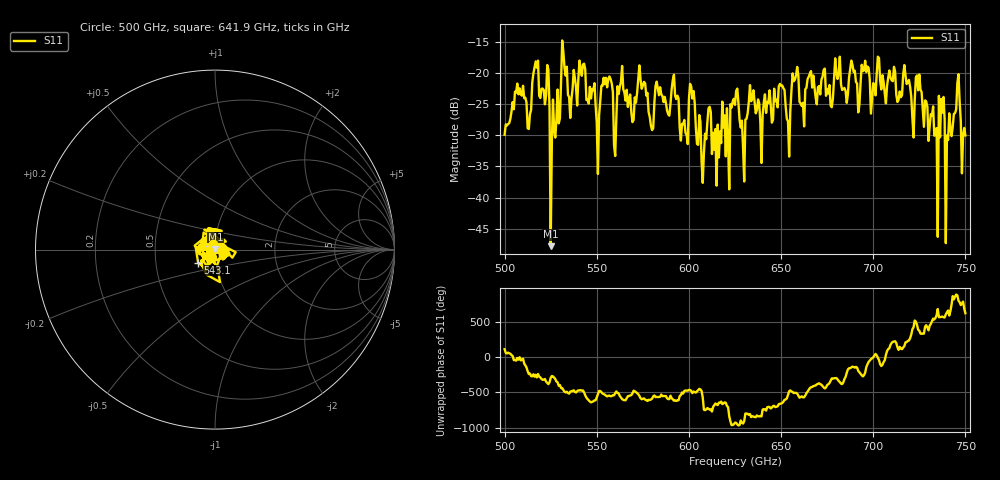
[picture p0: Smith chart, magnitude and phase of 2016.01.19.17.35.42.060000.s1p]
!Created with skrf (http://scikit-rf.org).
# GHz S RI R 50.0
!freq ReS11 ImS11
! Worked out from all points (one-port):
!   401 points, 500 GHz to 750 GHz, reference 50 ohm
!   lowest |S11| = -47.8 dB at 525 GHz (marker M1), VSWR 1.01, Z = 50.2 + j0.366 ohm
!   |S11| at or under -10 dB: start of sweep to end of sweep
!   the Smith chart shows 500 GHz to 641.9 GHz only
!   S11 on the Smith chart (normalised r, x): 500 GHz: 0.98, +0.06; 543.1 GHz: 0.82, -0.12; 641.9 GHz: 1.07, -0.07
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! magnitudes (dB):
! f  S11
! 500 GHz  -29.9
! 506.9 GHz  -21.7
! 513.1 GHz  -29.0
! 516.9 GHz  -18.1
! 525 GHz  -47.8
! 531.2 GHz  -14.7
! 543.1 GHz  -18.5
! 550.6 GHz  -36.2
! 553.8 GHz  -20.7
! 560.6 GHz  -27.2
! 562.5 GHz  -22.2
! 593.8 GHz  -23.6
! 598.1 GHz  -29.6
! 601.9 GHz  -24.1
! 608.1 GHz  -32.9
! 625 GHz  -25.1
! 628.8 GHz  -27.6
! 641.9 GHz  -26.4
! 650.6 GHz  -22.0
! 653.8 GHz  -27.7
! 656.2 GHz  -20.0
! 687.5 GHz  -19.3
! 718.8 GHz  -21.5
! 733.8 GHz  -29.9
! 736.9 GHz  -24.2
! 740.6 GHz  -30.7
! 745.6 GHz  -21.7
! 750 GHz  -30.0
